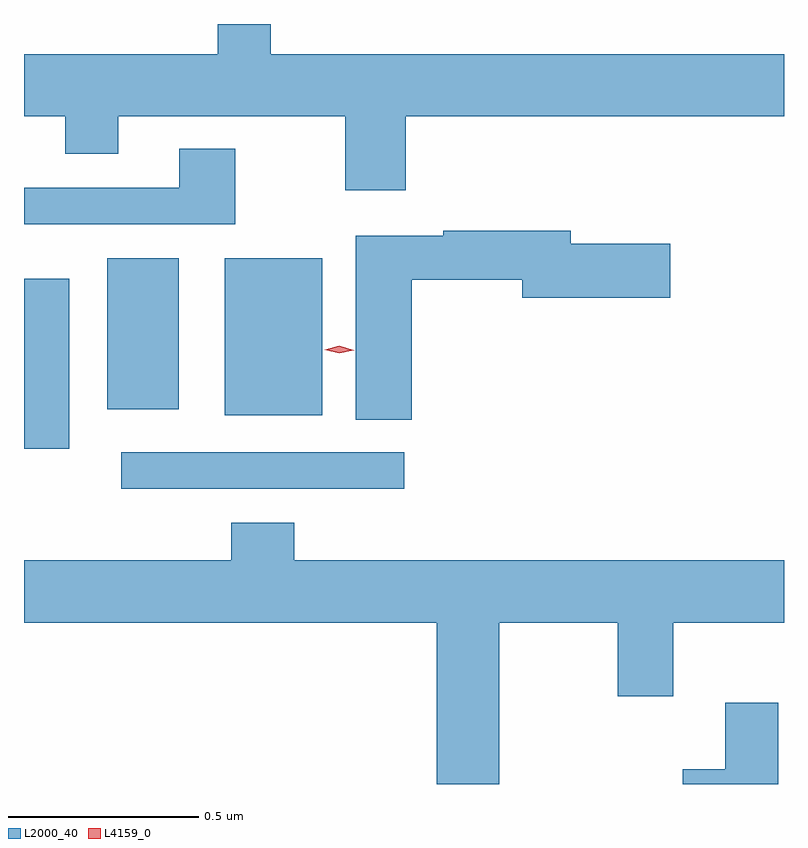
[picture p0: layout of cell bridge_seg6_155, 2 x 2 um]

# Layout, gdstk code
import gdstk
lib = gdstk.Library(unit=1e-6, precision=1e-09)
def R(c, l, rs):  # rectangles x0, y0, x1, y1
    for r in rs: c.add(gdstk.rectangle(r[:2], r[2:], *l))
def P(c, l, *ps):  # polygons
    for p in ps: c.add(gdstk.Polygon(p, *l))
L2000_40 = (2000, 40)
L4159_0 = (4159, 0)

bridge_seg6_155 = lib.new_cell('bridge_seg6_155')
R(bridge_seg6_155, L2000_40, [(541.023,929.04,541.768,929.136), (540.767,929.145,540.886,929.593), (541.295,929.234,541.552,929.647), (540.986,929.249,541.174,929.647)])
P(bridge_seg6_155, L2000_40, [(541.416,930.263),(541.277,930.263),(541.277,930.184),(540.767,930.184),(540.767,930.02),(540.875,930.02),(540.875,929.921),(541.015,929.921),(541.015,930.02),(541.612,930.02),(541.612,929.826),(541.772,929.826),(541.772,930.02),(542.767,930.02),(542.767,930.184),(541.416,930.184)],
  [(541.323,929.935),(541.175,929.935),(541.175,929.832),(540.767,929.832),(540.767,929.736),(541.323,929.736)],
  [(541.787,929.59),(542.078,929.59),(542.078,929.543),(542.467,929.543),(542.467,929.685),(542.206,929.685),(542.206,929.719),(541.87,929.719),(541.87,929.706),(541.64,929.706),(541.64,929.221),(541.787,929.221)],
  [(542.017,928.688),(542.329,928.688),(542.329,928.494),(542.476,928.494),(542.476,928.688),(542.767,928.688),(542.767,928.852),(541.478,928.852),(541.478,928.951),(541.313,928.951),(541.313,928.852),(540.767,928.852),(540.767,928.688),(541.853,928.688),(541.853,928.263),(542.017,928.263)],
  [(542.752,928.477),(542.612,928.477),(542.612,928.302),(542.501,928.302),(542.501,928.263),(542.752,928.263)])
P(bridge_seg6_155, L4159_0, [(541.597,929.396),(541.559,929.406),(541.559,929.406),(541.559,929.406),(541.597,929.416),(541.635,929.405),(541.636,929.405),(541.635,929.405)])

lib.write_gds('bridge_seg6_155.gds')
